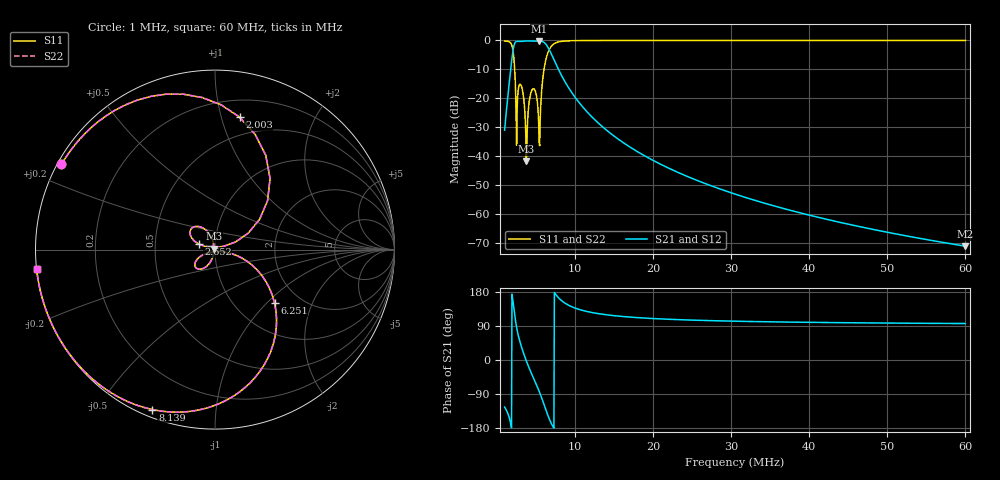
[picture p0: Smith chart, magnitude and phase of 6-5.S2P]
! 2-port S-parameter file Version 2.0 by Elsie 19/04/2023 08:45:20
[Version] 2.0
# MHz S DB R 50
[Number of Ports] 2
[Two-Port Data Order] 21_12
! Fstart: 1  Fstop: 60
[Reference]  50 50
! Freq:  S11 mag:  S11 angle:  S21 mag:  S21 angle:  S12 mag:  S12 angle:  S22 mag:  S22 angle:
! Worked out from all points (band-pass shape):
!   1001 points, 1 MHz to 60 MHz, reference 50 ohm
!   highest |S21| = -0.16 dB at 5.425 MHz (marker M1); lowest = -71.0 dB at 60 MHz (marker M2)
!   |S21| within 3 dB of the highest: 2.097 MHz to 6.713 MHz (4.615 MHz wide, 105 % of centre)
!   lowest |S11| = -41.8 dB at 3.773 MHz (marker M3), VSWR 1.02, Z = 49.5 + j0.604 ohm
!   |S11| at or under -10 dB: 2.287 MHz to 6.046 MHz (3.758 MHz wide, 90.2 % of centre)
!   |S22| runs from -41.8 to 0.0 dB; largest |S21 - S12| = 0
!   S11 on the Smith chart (normalised r, x): 1 MHz: 0.01, +0.26; 2.003 MHz: 0.34, +1.14; 2.652 MHz: 0.83, +0.05; 6.251 MHz: 1.49, -1.12; 8.139 MHz: 0.03, -0.68; 60 MHz: 0.00, -0.05
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[Number of Frequencies] 22
[Network Data]
1  -0.19 151.0  -30.98 -124.0  -30.98 -124.0  -0.19 151.0
1.649  -0.55 117.5  -13.23 -156.3  -13.23 -156.3  -0.55 117.5
2.003  -2.49 79.5  -4.86 165.4  -4.86 165.4  -2.49 79.5
2.298  -10.45 34.2  -0.95 118.3  -0.95 118.3  -10.45 34.2
2.652  -20.26 161.1  -0.34 73.9  -0.34 73.9  -20.26 161.1
3.183  -16.01 125.5  -0.32 33.1  -0.32 33.1  -16.01 125.5
3.773  -41.77 131.6  -0.17 -1.9  -0.17 -1.9  -41.77 131.6
4.599  -16.77 -132.4  -0.24 -43.2  -0.24 -43.2  -16.77 -132.4
4.953  -17.67 -147.1  -0.22 -59.5  -0.22 -59.5  -17.67 -147.1
5.425  -35.11 -133.4  -0.16 -82.5  -0.16 -82.5  -35.11 -133.4
5.661  -20.70 -13.7  -0.21 -95.1  -0.21 -95.1  -20.70 -13.7
5.956  -11.69 -25.7  -0.50 -112.1  -0.50 -112.1  -11.69 -25.7
6.251  -6.99 -42.0  -1.20 -129.6  -1.20 -129.6  -6.99 -42.0
7.136  -1.56 -84.8  -5.55 -173.6  -5.55 -173.6  -1.56 -84.8
8.139  -0.38 -111.4  -11.30 159.4  -11.30 159.4  -0.38 -111.4
10.853  -0.03 -138.8  -22.50 131.6  -22.50 131.6  -0.03 -138.8
15.042  -0.01 -153.3  -33.07 117.0  -33.07 117.0  -0.01 -153.3
20.706  -0.00 -161.5  -42.39 108.7  -42.39 108.7  -0.00 -161.5
30.5  -0.00 -167.8  -53.06 102.4  -53.06 102.4  -0.00 -167.8
40.353  -0.00 -170.8  -60.56 99.3  -60.56 99.3  -0.00 -170.8
50.206  -0.00 -172.7  -66.35 97.4  -66.35 97.4  -0.00 -172.7
60  -0.00 -173.9  -71.04 96.2  -71.04 96.2  -0.00 -173.9
[End]
